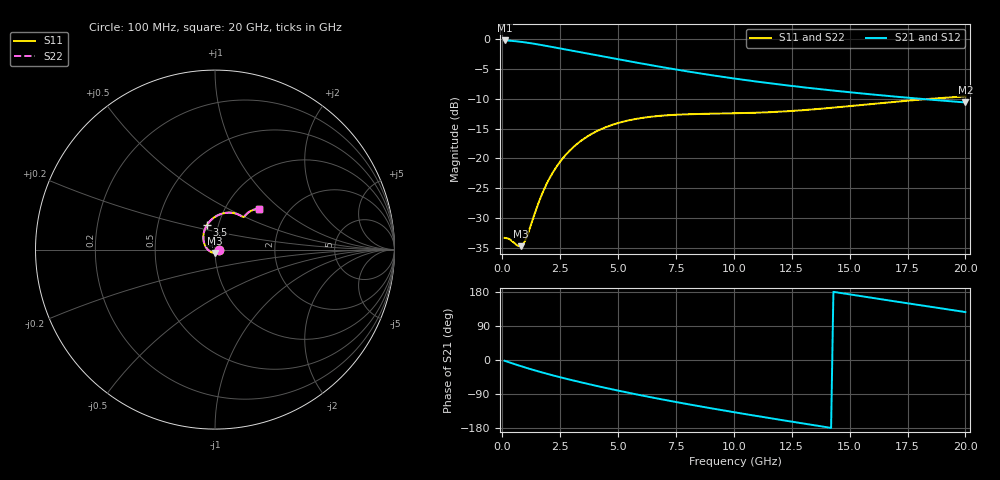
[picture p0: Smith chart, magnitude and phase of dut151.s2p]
! Touchstone file exported from HFSS 2024.1.0
!  File:  C:/UserFiles/LocalFiles/RDL_TSV_Batchsim/temp_RDL_TSV_151_1779431860.aedt
!  Generated:  02:51:57 PM May 22, 2026
!  Design:  RDL_TSV
!  Project:  temp_RDL_TSV_151_1779431860
!  Setup:  Setup1
!  Solution:  Sweep
! Variables:
!  dtsv = 13.35um
!  hbump = 3um
!  htsv = 93.86um
!  ldown = 456.03um
!  lrdl = 388.09um
!  p = 40
!  p1 = 41.78um
!  rhole = 10um
!  subl = 2920.45um
!  t = 450um
!  tdown = 3.51um
!  trdl = 2.64um
!  viad = 10um
!  wdown = 18.31um
!  wrdl = 14.83um
!  xbump = 18um
# GHz S MA R 50.000000
! Terminal data exported
! Port[1] = TM1_1_T1
! Port[2] = TM1_4_T1
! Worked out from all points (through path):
!   200 points, 100 MHz to 20 GHz, reference 50 ohm
!   highest |S21| = -0.19 dB at 100 MHz (marker M1); lowest = -10.6 dB at 20 GHz (marker M2)
!   group delay of S21, straight-line fit = 30.7 ps
!   lowest |S11| = -34.7 dB at 800 MHz (marker M3), VSWR 1.04, Z = 49.9 - j1.83 ohm
!   |S11| at or under -10 dB: start of sweep to 18.45 GHz
!   |S22| runs from -34.7 to -9.6 dB; largest |S21 - S12| = 1.7e-14
!   S11 on the Smith chart (normalised r, x): 100 MHz: 1.04, -0.01; 3.5 GHz: 0.88, +0.25; 20 GHz: 1.43, +0.72
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0.1  0.02153 -7.5  0.9778 -2.1  0.9778 -2.1  0.02153 -7.5
! Gamma 0 0 0 0
! Port Impedance 50 0 50 0
0.4  0.02042 -35.1  0.9705 -8.3  0.9705 -8.3  0.02042 -35.1
0.7  0.01837 -74.6  0.9579 -14.3  0.9579 -14.3  0.01836 -74.6
0.8  0.01835 -90.7  0.9528 -16.2  0.9528 -16.2  0.01834 -90.7
1  0.02065 -123.3  0.9415 -20.0  0.9415 -20.0  0.02065 -123.3
1.6  0.04413 174.5  0.9017 -30.8  0.9017 -30.8  0.04417 174.5
1.8  0.05474 162.6  0.8875 -34.2  0.8875 -34.2  0.05479 162.6
2.1  0.07148 148.5  0.866 -39.2  0.866 -39.2  0.07155 148.5
2.7  0.1051 127.6  0.8239 -48.6  0.8239 -48.6  0.1052 127.6
3.5  0.1452 107.5  0.7706 -60.4  0.7706 -60.4  0.1453 107.5
4.2  0.1736 94.1  0.727 -70.1  0.727 -70.1  0.1738 94.1
4.9  0.1955 83.4  0.6859 -79.5  0.6859 -79.5  0.1957 83.4
5.8  0.215 72.5  0.6372 -90.9  0.6372 -90.9  0.2152 72.5
6.8  0.2277 63.6  0.5884 -102.8  0.5884 -102.8  0.2279 63.6
8.4  0.236 54.4  0.5223 -120.8  0.5223 -120.8  0.2362 54.4
10.1  0.2393 49.9  0.4662 -138.7  0.4662 -138.7  0.2395 49.9
11.7  0.2452 48.6  0.424 -154.8  0.424 -154.8  0.2455 48.7
13.4  0.2578 48.5  0.3876 -171.5  0.3876 -171.5  0.2581 48.5
15  0.2749 48.2  0.3593 173.2  0.3593 173.2  0.2753 48.2
16.7  0.2957 47.1  0.334 157.1  0.334 157.1  0.2962 47.1
18.3  0.3146 45.2  0.3136 142.2  0.3136 142.2  0.3151 45.3
20  0.3314 42.8  0.295 126.5  0.295 126.5  0.3321 42.8
